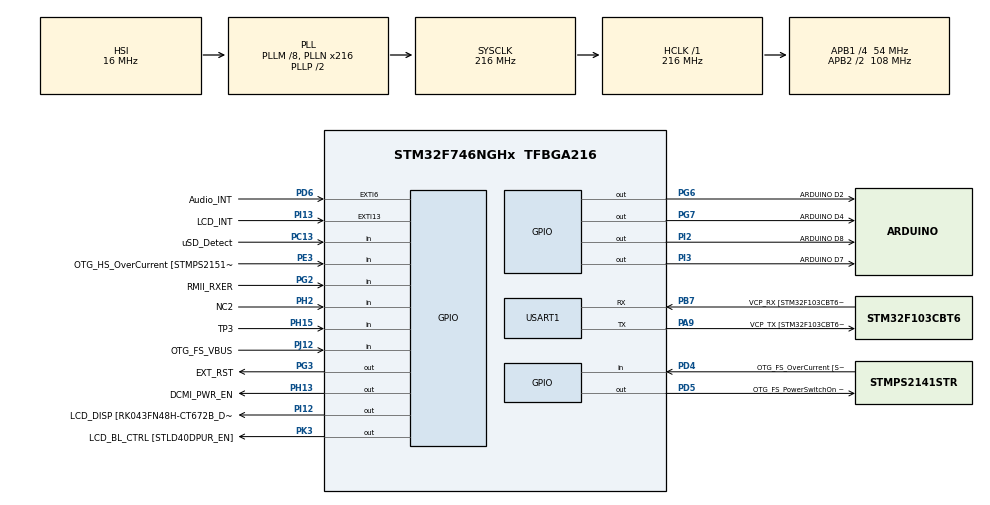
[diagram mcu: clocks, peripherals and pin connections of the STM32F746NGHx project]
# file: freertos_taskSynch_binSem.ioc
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Mcu.Family=STM32F7
Mcu.Name=STM32F746NGHx
Mcu.Package=TFBGA216
NVIC.PriorityGroup=NVIC_PRIORITYGROUP_4
NVIC.TIM6_DAC_IRQn=true\:15\:0\:false\:false\:true\:false\:true\:true
NVIC.TimeBase=TIM6_DAC_IRQn
NVIC.TimeBaseIP=TIM6
NVIC.USART1_IRQn=true\:0\:0\:false\:false\:true\:true\:true\:true
PA0/WKUP.GPIO_Label=ARDUINO A0
PA0/WKUP.GPIO_Mode=GPIO_MODE_ANALOG
PA0/WKUP.GPIO_PuPd=GPIO_NOPULL
PA0/WKUP.Signal=ADCx_IN0
PA1.GPIO_Label=RMII_REF_CLK [LAN8742A-CZ-TR_REFCLK0]
PA1.Signal=ETH_REF_CLK
PA10.GPIO_Label=OTG_FS_ID
PA10.Signal=USB_OTG_FS_ID
PA11.GPIO_Label=OTG_FS_N
PA11.Signal=USB_OTG_FS_DM
PA12.GPIO_Label=OTG_FS_P
PA12.Signal=USB_OTG_FS_DP
PA13.GPIO_Label=SWDIO
PA13.Signal=SYS_JTMS-SWDIO
PA14.GPIO_Label=SWCLK
PA14.Signal=SYS_JTCK-SWCLK
PA15.GPIO_Label=ARDUINO PWM/D9
PA15.GPIO_ModeDefaultPP=GPIO_MODE_AF_PP
PA15.GPIO_PuPd=GPIO_NOPULL
PA15.GPIO_Speed=GPIO_SPEED_FREQ_LOW
PA15.Signal=S_TIM2_CH1_ETR
PA2.GPIO_Label=RMII_MDIO [LAN8742A-CZ-TR_MDIO]
PA2.Signal=ETH_MDIO
PA3.GPIO_Label=ULPI_D0 [USB3320C-EZK_D0]
PA3.Signal=USB_OTG_HS_ULPI_D0
PA4.GPIO_Label=DCMI_HSYNC
PA4.Signal=DCMI_HSYNC
PA5.GPIO_Label=ULPI_CLK [USB3320C-EZK_CLKOUT]
PA5.Signal=USB_OTG_HS_ULPI_CK
PA6.Signal=DCMI_PIXCLK
PA7.GPIO_Label=RMII_CRS_DV [LAN8742A-CZ-TR_CRS_DV]
PA7.Signal=ETH_CRS_DV
PA8.GPIO_Label=ARDUINO PWM/D10
PA8.GPIO_ModeDefaultPP=GPIO_MODE_AF_PP
PA8.GPIO_PuPd=GPIO_NOPULL
PA8.GPIO_Speed=GPIO_SPEED_FREQ_LOW
PA8.Signal=S_TIM1_CH1
PA9.GPIO_Label=VCP_TX [STM32F103CBT6_PA3]
PA9.GPIO_Mode=GPIO_MODE_AF_PP
PA9.GPIO_PuPd=GPIO_NOPULL
PA9.GPIO_Speed=GPIO_SPEED_FREQ_LOW
PA9.Mode=Asynchronous
PA9.Signal=USART1_TX
PB0.GPIO_Label=ULPI_D1 [USB3320C-EZK_D1]
PB0.Signal=USB_OTG_HS_ULPI_D1
PB1.GPIO_Label=ULPI_D2 [USB3320C-EZK_D2]
PB1.Signal=USB_OTG_HS_ULPI_D2
PB10.GPIO_Label=ULPI_D3 [USB3320C-EZK_D3]
PB10.Signal=USB_OTG_HS_ULPI_D3
PB11.GPIO_Label=ULPI_D4 [USB3320C-EZK_D4]
PB11.Signal=USB_OTG_HS_ULPI_D4
PB12.GPIO_Label=ULPI_D5 [USB3320C-EZK_D5]
PB12.Signal=USB_OTG_HS_ULPI_D5
PB13.GPIO_Label=ULPI_D6 [USB3320C-EZK_D6]
PB13.Signal=USB_OTG_HS_ULPI_D6
PB14.GPIO_Label=ARDUINO MISO/D12
PB14.GPIO_Mode=GPIO_MODE_AF_PP
PB14.GPIO_PuPd=GPIO_NOPULL
PB14.GPIO_Speed=GPIO_SPEED_FREQ_LOW
PB14.Signal=SPI2_MISO
PB15.GPIO_Label=ARDUINO MOSI/PWM/D11
PB15.GPIO_Mode=GPIO_MODE_AF_PP
PB15.GPIO_PuPd=GPIO_NOPULL
PB15.GPIO_Speed=GPIO_SPEED_FREQ_LOW
PB15.Signal=SPI2_MOSI
PB2.Signal=QUADSPI_CLK
PB3.GPIO_Label=SWO
PB3.Signal=SYS_JTDO-SWO
PB4.GPIO_Label=ARDUINO PWM/D3
PB4.GPIO_ModeDefaultPP=GPIO_MODE_AF_PP
PB4.GPIO_PuPd=GPIO_NOPULL
PB4.GPIO_Speed=GPIO_SPEED_FREQ_LOW
PB4.Signal=S_TIM3_CH1
PB5.GPIO_Label=ULPI_D7 [USB3320C-EZK_D7]
PB5.Signal=USB_OTG_HS_ULPI_D7
PB6.GPIO_Label=QSPI_NCS [N25Q128A13EF840E_S]
PB6.Signal=QUADSPI_BK1_NCS
PB7.GPIO_Label=VCP_RX [STM32F103CBT6_PA2]
PB7.GPIO_Mode=GPIO_MODE_AF_PP
PB7.GPIO_PuPd=GPIO_NOPULL
PB7.GPIO_Speed=GPIO_SPEED_FREQ_LOW
PB7.Mode=Asynchronous
PB7.Signal=USART1_RX
PB8.GPIO_Label=ARDUINO SCL/D15
PB8.GPIO_Mode=GPIO_MODE_AF_OD
PB8.GPIO_PuPd=GPIO_NOPULL
PB8.GPIO_Speed=GPIO_SPEED_FREQ_LOW
PB8.Signal=I2C1_SCL
PB9.GPIO_Label=ARDUINO SDA/D14
PB9.GPIO_Mode=GPIO_MODE_AF_OD
PB9.GPIO_PuPd=GPIO_NOPULL
PB9.GPIO_Speed=GPIO_SPEED_FREQ_LOW
PB9.Signal=I2C1_SDA
PC0.GPIO_Label=ULPI_STP [USB3320C-EZK_STP]
PC0.Signal=USB_OTG_HS_ULPI_STP
PC1.GPIO_Label=RMII_MDC [LAN8742A-CZ-TR_MDC]
PC1.Signal=ETH_MDC
PC10.GPIO_Label=SDMMC_D2
PC10.Signal=SDMMC1_D2
PC11.GPIO_Label=SDMMC_D3
PC11.Signal=SDMMC1_D3
PC12.GPIO_Label=SDMMC_CK
PC12.Signal=SDMMC1_CK
PC13.GPIO_Label=uSD_Detect
PC13.Signal=GPIO_Input
PC14/OSC32_IN.GPIO_Label=RCC_OSC32_IN
PC14/OSC32_IN.Signal=RCC_OSC32_IN
PC15/OSC32_OUT.GPIO_Label=RCC_OSC32_OUT
PC15/OSC32_OUT.Signal=RCC_OSC32_OUT
PC2.GPIO_Label=ULPI_DIR [USB3320C-EZK_DIR]
PC2.Signal=USB_OTG_HS_ULPI_DIR
PC3.GPIO_Label=FMC_SDCKE0 [MT48LC4M32B2B5-6A_CKE]
PC3.Signal=FMC_SDCKE0
PC4.GPIO_Label=RMII_RXD0 [LAN8742A-CZ-TR_RXD0]
PC4.Signal=ETH_RXD0
PC5.GPIO_Label=RMII_RXD1 [LAN8742A-CZ-TR_RXD1]
PC5.Signal=ETH_RXD1
PC6.GPIO_Label=ARDUINO TX/D1
PC6.Signal=USART6_TX
PC7.GPIO_Label=ARDUINO RX/D0
PC7.Signal=USART6_RX
PC8.Signal=SDMMC1_D0
PC9.Signal=SDMMC1_D1
PD0.GPIO_Label=FMC_D2 [MT48LC4M32B2B5-6A_DQ2]
PD0.Signal=FMC_D2_DA2
PD1.GPIO_Label=FMC_D3 [MT48LC4M32B2B5-6A_DQ3]
PD1.Signal=FMC_D3_DA3
PD10.GPIO_Label=FMC_D15 [MT48LC4M32B2B5-6A_DQ15]
PD10.Signal=FMC_D15_DA15
PD11.GPIO_Label=QSPI_D0 [N25Q128A13EF840E_DQ0]
PD11.Signal=QUADSPI_BK1_IO0
PD12.GPIO_Label=QSPI_D1 [N25Q128A13EF840E_DQ1]
PD12.Signal=QUADSPI_BK1_IO1
PD13.GPIO_Label=QSPI_D3 [N25Q128A13EF840E_DQ3]
PD13.Signal=QUADSPI_BK1_IO3
PD14.GPIO_Label=FMC_D0 [MT48LC4M32B2B5-6A_DQ0]
PD14.Signal=FMC_D0_DA0
PD15.GPIO_Label=FMC_D1 [MT48LC4M32B2B5-6A_DQ1]
PD15.Signal=FMC_D1_DA1
PD2.GPIO_Label=SDMMC_D0
PD2.Signal=SDMMC1_CMD
PD3.GPIO_Label=DCMI_D5
PD3.Signal=DCMI_D5
PD4.GPIO_Label=OTG_FS_OverCurrent [STMPS2141STR_Fault]
PD4.Signal=GPIO_Input
PD5.GPIO_Label=OTG_FS_PowerSwitchOn [STMPS2141STR_EN]
PD5.PinState=GPIO_PIN_SET
PD5.Signal=GPIO_Output
PD6.GPIO_Label=Audio_INT
PD6.GPIO_ModeDefaultEXTI=GPIO_MODE_EVT_RISING
PD6.Signal=GPXTI6
PD7.GPIO_Label=SPDIF_RX0 [74LVC1G04SE_4]
PD7.Signal=SPDIFRX_IN0
PD8.GPIO_Label=FMC_D13 [MT48LC4M32B2B5-6A_DQ13]
PD8.Signal=FMC_D13_DA13
PD9.GPIO_Label=FMC_D14 [MT48LC4M32B2B5-6A_DQ14]
PD9.Signal=FMC_D14_DA14
PE0.GPIO_Label=FMC_NBL0 [MT48LC4M32B2B5-6A_DQM0]
PE0.Signal=FMC_NBL0
PE1.GPIO_Label=FMC_NBL1 [MT48LC4M32B2B5-6A_DQM1]
PE1.Signal=FMC_NBL1
PE10.GPIO_Label=FMC_D7 [MT48LC4M32B2B5-6A_DQ7]
PE10.Signal=FMC_D7_DA7
PE11.GPIO_Label=FMC_D8 [MT48LC4M32B2B5-6A_DQ8]
PE11.Signal=FMC_D8_DA8
PE12.GPIO_Label=FMC_D9 [MT48LC4M32B2B5-6A_DQ9]
PE12.Signal=FMC_D9_DA9
PE13.GPIO_Label=FMC_D10 [MT48LC4M32B2B5-6A_DQ10]
PE13.Signal=FMC_D10_DA10
PE14.GPIO_Label=FMC_D11 [MT48LC4M32B2B5-6A_DQ11]
PE14.Signal=FMC_D11_DA11
PE15.GPIO_Label=FMC_D12 [MT48LC4M32B2B5-6A_DQ12]
PE15.Signal=FMC_D12_DA12
PE2.GPIO_Label=QSPI_D2 [N25Q128A13EF840E_DQ2]
PE2.Signal=QUADSPI_BK1_IO2
PE3.GPIO_Label=OTG_HS_OverCurrent [STMPS2151STR_FAULT]
PE3.Signal=GPIO_Input
PE4.GPIO_Label=LCD_B0 [RK043FN48H-CT672B_B0]
PE4.Signal=LTDC_B0
PE5.GPIO_Label=DCMI_D6
PE5.Signal=DCMI_D6
PE6.GPIO_Label=DCMI_D7
PE6.Signal=DCMI_D7
PE7.GPIO_Label=FMC_D4 [MT48LC4M32B2B5-6A_DQ4]
PE7.Signal=FMC_D4_DA4
PE8.GPIO_Label=FMC_D5 [MT48LC4M32B2B5-6A_DQ5]
PE8.Signal=FMC_D5_DA5
PE9.GPIO_Label=FMC_D6 [MT48LC4M32B2B5-6A_DQ6]
PE9.Signal=FMC_D6_DA6
PF0.GPIO_Label=FMC_A0 [MT48LC4M32B2B5-6A_A0]
PF0.Signal=FMC_A0
PF1.GPIO_Label=FMC_A1 [MT48LC4M32B2B5-6A_A1]
PF1.Signal=FMC_A1
PF10.GPIO_Label=ARDUINO A1
PF10.GPIO_Mode=GPIO_MODE_ANALOG
PF10.GPIO_PuPd=GPIO_NOPULL
PF10.Signal=ADC3_IN8
PF11.GPIO_Label=FMC_SDNRAS [MT48LC4M32B2B5-6A_RAS]
PF11.Signal=FMC_SDNRAS
PF12.GPIO_Label=FMC_A6 [MT48LC4M32B2B5-6A_A6]
PF12.Signal=FMC_A6
PF13.GPIO_Label=FMC_A7 [MT48LC4M32B2B5-6A_A7]
PF13.Signal=FMC_A7
PF14.GPIO_Label=FMC_A8 [MT48LC4M32B2B5-6A_A8]
PF14.Signal=FMC_A8
PF15.GPIO_Label=FMC_A9 [MT48LC4M32B2B5-6A_A9]
PF15.Signal=FMC_A9
PF2.GPIO_Label=FMC_A2 [MT48LC4M32B2B5-6A_A2]
PF2.Signal=FMC_A2
PF3.GPIO_Label=FMC_A3 [MT48LC4M32B2B5-6A_A3]
PF3.Signal=FMC_A3
PF4.GPIO_Label=FMC_A4 [MT48LC4M32B2B5-6A_A4]
PF4.Signal=FMC_A4
PF5.GPIO_Label=FMC_A5 [MT48LC4M32B2B5-6A_A5]
PF5.Signal=FMC_A5
PF6.GPIO_Label=ARDUINO A5
PF6.GPIO_Mode=GPIO_MODE_ANALOG
PF6.GPIO_PuPd=GPIO_NOPULL
PF6.Signal=ADC3_IN4
PF7.GPIO_Label=ARDUINO A4
PF7.GPIO_Mode=GPIO_MODE_ANALOG
PF7.GPIO_PuPd=GPIO_NOPULL
PF7.Signal=ADC3_IN5
PF8.GPIO_Label=ARDUINO A3
PF8.GPIO_Mode=GPIO_MODE_ANALOG
PF8.GPIO_PuPd=GPIO_NOPULL
PF8.Signal=ADC3_IN6
PF9.GPIO_Label=ARDUINO A2
PF9.GPIO_Mode=GPIO_MODE_ANALOG
PF9.GPIO_PuPd=GPIO_NOPULL
PF9.Signal=ADC3_IN7
PG0.GPIO_Label=FMC_A10 [MT48LC4M32B2B5-6A_A10]
PG0.Signal=FMC_A10
PG1.GPIO_Label=FMC_A11 [MT48LC4M32B2B5-6A_A11]
PG1.Signal=FMC_A11
PG10.GPIO_Label=SAI2_SDB [WM8994ECS/R_ADCDAT1]
PG10.Signal=SAI2_SD_B
PG11.GPIO_Label=RMII_TX_EN [LAN8742A-CZ-TR_TXEN]
PG11.Signal=ETH_TX_EN
PG12.GPIO_Label=LCD_B4 [RK043FN48H-CT672B_B4]
PG12.Signal=LTDC_B4
PG13.GPIO_Label=RMII_TXD0 [LAN8742A-CZ-TR_TXD0]
PG13.Signal=ETH_TXD0
PG14.GPIO_Label=RMII_TXD1 [LAN8742A-CZ-TR_TXD1]
PG14.Signal=ETH_TXD1
PG15.GPIO_Label=FMC_SDNCAS [MT48LC4M32B2B5-6A_CAS]
PG15.Signal=FMC_SDNCAS
PG2.GPIO_Label=RMII_RXER
PG2.Signal=GPIO_Input
PG3.GPIO_Label=EXT_RST
PG3.Signal=GPIO_Output
PG4.GPIO_Label=FMC_BA0 [MT48LC4M32B2B5-6A_BA0]
PG4.Signal=FMC_A14_BA0
PG5.GPIO_Label=FMC_BA1 [MT48LC4M32B2B5-6A_BA1]
PG5.Signal=FMC_A15_BA1
PG6.GPIO_Label=ARDUINO D2
PG6.Signal=GPIO_Output
PG7.GPIO_Label=ARDUINO D4
PG7.Signal=GPIO_Output
PG8.GPIO_Label=FMC_SDCLK [MT48LC4M32B2B5-6A_CLK]
PG8.Signal=FMC_SDCLK
PG9.GPIO_Label=DCMI_VSYNC
PG9.Signal=DCMI_VSYNC
PH0/OSC_IN.GPIO_Label=OSC_25M [NZ2520SB-25.00M_OUT]
PH0/OSC_IN.Signal=RCC_OSC_IN
PH1/OSC_OUT.Signal=RCC_OSC_OUT
PH10.GPIO_Label=DCMI_D1
PH10.Signal=DCMI_D1
PH11.GPIO_Label=DCMI_D2
PH11.Signal=DCMI_D2
PH12.GPIO_Label=DCMI_D3
PH12.Signal=DCMI_D3
PH13.GPIO_Label=DCMI_PWR_EN
PH13.Signal=GPIO_Output
PH14.GPIO_Label=DCMI_D4
PH14.Signal=DCMI_D4
PH15.GPIO_Label=TP3
PH15.Signal=GPIO_Input
PH2.GPIO_Label=NC2
PH2.Signal=GPIO_Input
PH3.GPIO_Label=FMC_SDNE0 [MT48LC4M32B2B5-6A_CS]
PH3.Signal=FMC_SDNE0
PH4.GPIO_Label=ULPI_NXT [USB3320C-EZK_NXT]
PH4.Signal=USB_OTG_HS_ULPI_NXT
PH5.GPIO_Label=FMC_SDNME [MT48LC4M32B2B5-6A_WE]
PH5.Signal=FMC_SDNWE
PH6.GPIO_Label=ARDUINO PWM/D6
PH6.Signal=S_TIM12_CH1
PH7.GPIO_Label=LCD_SCL [RK043FN48H-CT672B_SCL]
PH7.Signal=I2C3_SCL
PH8.GPIO_Label=LCD_SDA [RK043FN48H-CT672B_SDA]
PH8.Signal=I2C3_SDA
PH9.GPIO_Label=DCMI_D0
PH9.Signal=DCMI_D0
PI0.GPIO_Label=ARDUINO PWM/CS/D5
PI0.GPIO_ModeDefaultPP=GPIO_MODE_AF_PP
PI0.GPIO_PuPd=GPIO_NOPULL
PI0.GPIO_Speed=GPIO_SPEED_FREQ_LOW
PI0.Signal=S_TIM5_CH4
PI1.GPIO_Label=ARDUINO SCK/D13
PI1.GPIO_Mode=GPIO_MODE_AF_PP
PI1.GPIO_PuPd=GPIO_NOPULL
PI1.GPIO_Speed=GPIO_SPEED_FREQ_LOW
PI1.Signal=SPI2_SCK
PI10.GPIO_Label=LCD_HSYNC [RK043FN48H-CT672B_HSYNC]
PI10.Signal=LTDC_HSYNC
PI12.GPIO_Label=LCD_DISP [RK043FN48H-CT672B_DISP] 
PI12.Signal=GPIO_Output
PI13.GPIO_Label=LCD_INT
PI13.GPIO_ModeDefaultEXTI=GPIO_MODE_EVT_RISING
PI13.Signal=GPXTI13
PI14.GPIO_Label=LCD_CLK [RK043FN48H-CT672B_CLK]
PI14.Signal=LTDC_CLK
PI15.GPIO_Label=LCD_R0 [RK043FN48H-CT672B_R0]
PI15.Signal=LTDC_R0
PI2.GPIO_Label=ARDUINO D8
PI2.Signal=GPIO_Output
PI3.GPIO_Label=ARDUINO D7
PI3.Signal=GPIO_Output
PI4.GPIO_Label=SAI2_MCLKA [WM8994ECS/R_MCLK1]
PI4.Signal=SAI2_MCLK_A
PI5.GPIO_Label=SAI2_SCKA [WM8994ECS/R_BCLK1]
PI5.Signal=SAI2_SCK_A
PI6.GPIO_Label=SAI2_SDA [WM8994ECS/R_DACDAT1]
PI6.Signal=SAI2_SD_A
PI7.GPIO_Label=SAI2_FSA [WM8994ECS/R_LRCLK1]
PI7.Signal=SAI2_FS_A
PI8.GPIO_Label=NC1 [TP2]
PI8.Signal=RTC_TS
PI9.GPIO_Label=LCD_VSYNC [RK043FN48H-CT672B_VSYNC]
PI9.Signal=LTDC_VSYNC
PJ0.GPIO_Label=LCD_R1 [RK043FN48H-CT672B_R1]
PJ0.Signal=LTDC_R1
PJ1.GPIO_Label=LCD_R2 [RK043FN48H-CT672B_R2]
PJ1.Signal=LTDC_R2
PJ10.GPIO_Label=LCD_G3 [RK043FN48H-CT672B_G3]
PJ10.Signal=LTDC_G3
PJ11.GPIO_Label=LCD_G4 [RK043FN48H-CT672B_G4]
PJ11.Signal=LTDC_G4
PJ12.GPIO_Label=OTG_FS_VBUS
PJ12.Signal=GPIO_Input
PJ13.GPIO_Label=LCD_B1 [RK043FN48H-CT672B_B1]
PJ13.Signal=LTDC_B1
PJ14.GPIO_Label=LCD_B2 [RK043FN48H-CT672B_B2]
PJ14.Signal=LTDC_B2
PJ15.GPIO_Label=LCD_B3 [RK043FN48H-CT672B_B3]
PJ15.Signal=LTDC_B3
PJ2.GPIO_Label=LCD_R3 [RK043FN48H-CT672B_R3]
PJ2.Signal=LTDC_R3
PJ3.GPIO_Label=LCD_R4 [RK043FN48H-CT672B_R4]
PJ3.Signal=LTDC_R4
PJ4.GPIO_Label=LCD_R5 [RK043FN48H-CT672B_R5]
PJ4.Signal=LTDC_R5
PJ5.GPIO_Label=LCD_R6 [RK043FN48H-CT672B_R6]
PJ5.Signal=LTDC_R6
PJ6.GPIO_Label=LCD_R7 [RK043FN48H-CT672B_R7]
PJ6.Signal=LTDC_R7
PJ7.GPIO_Label=LCD_G0 [RK043FN48H-CT672B_G0]
PJ7.Signal=LTDC_G0
PJ8.GPIO_Label=LCD_G1 [RK043FN48H-CT672B_G1]
PJ8.Signal=LTDC_G1
PJ9.GPIO_Label=LCD_G2 [RK043FN48H-CT672B_G2]
PJ9.Signal=LTDC_G2
PK0.GPIO_Label=LCD_G5 [RK043FN48H-CT672B_G5]
PK0.Signal=LTDC_G5
PK1.GPIO_Label=LCD_G6 [RK043FN48H-CT672B_G6]
PK1.Signal=LTDC_G6
PK2.GPIO_Label=LCD_G7 [RK043FN48H-CT672B_G7]
PK2.Signal=LTDC_G7
PK3.GPIO_Label=LCD_BL_CTRL [STLD40DPUR_EN]
PK3.Signal=GPIO_Output
PK4.GPIO_Label=LCD_B5 [RK043FN48H-CT672B_B5]
PK4.Signal=LTDC_B5
PK5.GPIO_Label=LCD_B6 [RK043FN48H-CT672B_B6]
PK5.Signal=LTDC_B6
PK6.GPIO_Label=LCD_B7 [RK043FN48H-CT672B_B7]
PK6.Signal=LTDC_B7
PK7.GPIO_Label=LCD_DE [RK043FN48H-CT672B_DE]
PK7.Signal=LTDC_DE
ProjectManager.HeapSize=0x200
ProjectManager.StackSize=0x400
ProjectManager.TargetToolchain=STM32CubeIDE
RCC.AHBFreq_Value=216000000
RCC.APB1CLKDivider=RCC_HCLK_DIV4
RCC.APB1Freq_Value=54000000
RCC.APB1TimFreq_Value=108000000
RCC.APB2CLKDivider=RCC_HCLK_DIV2
RCC.APB2Freq_Value=108000000
RCC.APB2TimFreq_Value=216000000
RCC.CortexFreq_Value=216000000
RCC.HCLKFreq_Value=216000000
RCC.HSE_VALUE=25000000
RCC.HSI_VALUE=16000000
RCC.LSE_VALUE=32768
RCC.PLLM=8
RCC.PLLN=216
RCC.PLLSourceVirtual=RCC_PLLSOURCE_HSI
RCC.SYSCLKFreq_VALUE=216000000
RCC.SYSCLKSource=RCC_SYSCLKSOURCE_PLLCLK
RCC.USBFreq_Value=216000000
RCC.VCOOutputFreq_Value=432000000
SH.ADCx_IN0.0=ADC3_IN0
SH.FMC_A0.0=FMC_A0
SH.FMC_A1.0=FMC_A1
SH.FMC_A10.0=FMC_A10
SH.FMC_A11.0=FMC_A11
SH.FMC_A14_BA0.0=FMC_BA0
SH.FMC_A15_BA1.0=FMC_BA1
SH.FMC_A2.0=FMC_A2
SH.FMC_A3.0=FMC_A3
SH.FMC_A4.0=FMC_A4
SH.FMC_A5.0=FMC_A5
SH.FMC_A6.0=FMC_A6
SH.FMC_A7.0=FMC_A7
SH.FMC_A8.0=FMC_A8
SH.FMC_A9.0=FMC_A9
SH.FMC_D0_DA0.0=FMC_D0
SH.FMC_D10_DA10.0=FMC_D10
SH.FMC_D11_DA11.0=FMC_D11
SH.FMC_D12_DA12.0=FMC_D12
SH.FMC_D13_DA13.0=FMC_D13
SH.FMC_D14_DA14.0=FMC_D14
SH.FMC_D15_DA15.0=FMC_D15
SH.FMC_D1_DA1.0=FMC_D1
SH.FMC_D2_DA2.0=FMC_D2
SH.FMC_D3_DA3.0=FMC_D3
SH.FMC_D4_DA4.0=FMC_D4
SH.FMC_D5_DA5.0=FMC_D5
SH.FMC_D6_DA6.0=FMC_D6
SH.FMC_D7_DA7.0=FMC_D7
SH.FMC_D8_DA8.0=FMC_D8
SH.FMC_D9_DA9.0=FMC_D9
SH.FMC_NBL0.0=FMC_NBL0
SH.FMC_NBL1.0=FMC_NBL1
SH.FMC_SDCLK.0=FMC_SDCLK
SH.FMC_SDNCAS.0=FMC_SDNCAS
SH.FMC_SDNRAS.0=FMC_SDNRAS
SH.FMC_SDNWE.0=FMC_SDNWE
SH.S_TIM12_CH1.0=TIM12_CH1
SH.S_TIM1_CH1.0=TIM1_CH1
SH.S_TIM2_CH1_ETR.0=TIM2_CH1
SH.S_TIM3_CH1.0=TIM3_CH1
SH.S_TIM5_CH4.0=TIM5_CH4
USART1.VirtualMode-Asynchronous=VM_ASYNC
VP_SYS_VS_tim6.Mode=TIM6
board=STM32F746G-DISCO

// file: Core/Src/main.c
/* USER CODE BEGIN Header */
/**
  ******************************************************************************
  * @file           : main.c
  * @brief          : Main program body
  ******************************************************************************
  * @attention
  *
  * Copyright (c) 2023 STMicroelectronics.
  * All rights reserved.
  *
  * This software is licensed under terms that can be found in the LICENSE file
  * in the root directory of this software component.
  * If no LICENSE file comes with this software, it is provided AS-IS.
  *
  ******************************************************************************
  */
/* USER CODE END Header */
#include "main.h"

/* USER CODE BEGIN Includes */
#include "FreeRTOS.h"
#include "task.h"
#include "semphr.h"
#include "queue.h"

#include <stdio.h>
#include <stdlib.h>
#include <string.h>
/* USER CODE END Includes */

UART_HandleTypeDef huart1;

/* USER CODE BEGIN PV */
char usr_msg[250] = {0};

TaskHandle_t xTaskHandleM = NULL;
TaskHandle_t xTaskHandleE = NULL;

xSemaphoreHandle xWork;
xQueueHandle xWorkQueue;
/* USER CODE END PV */

void SystemClock_Config(void);
static void MX_GPIO_Init(void);
static void MX_USART1_UART_Init(void);
/* USER CODE BEGIN PFP */

void UART_LOG(char * msg);
void EmployeeDoWork(uint32_t TicketId);

static void vManagerTask(void *pvParameters);
static void vEmployeeTask(void *pvParameters);

/* USER CODE END PFP */

int main(void)
{

  /* MCU Configuration--------------------------------------------------------*/

  /* Reset of all peripherals, Initializes the Flash interface and the Systick. */
  HAL_Init();

  /* Configure the system clock */
  SystemClock_Config();

  /* Initialize all configured peripherals */
  MX_GPIO_Init();
  MX_USART1_UART_Init();
  /* USER CODE BEGIN 2 */

  BaseType_t status;
  sprintf(usr_msg,"Demo of Binary semaphore usage between 2 Tasks \r\n");
  UART_LOG(usr_msg);

  vSemaphoreCreateBinary(xWork);

  xWorkQueue = xQueueCreate(1, sizeof(unsigned int));

  if((xWork != NULL) && (xWorkQueue != NULL))
  {
	  status = xTaskCreate(vManagerTask, "Manager Task", 500, NULL, 3, xTaskHandleM);
	  configASSERT(status == pdTRUE);

	  status = xTaskCreate(vEmployeeTask, "Employee Task", 500, NULL, 1, xTaskHandleE);
	  configASSERT(status == pdTRUE);

	  vTaskStartScheduler();
  }

  sprintf(usr_msg,"Queue/Sema create failed.. \r\n");
  UART_LOG(usr_msg);
  /* USER CODE END 2 */

  /* Infinite loop */
  while (1)
  {

  }
}

void SystemClock_Config(void)
{
  RCC_OscInitTypeDef RCC_OscInitStruct = {0};
  RCC_ClkInitTypeDef RCC_ClkInitStruct = {0};

  /** Configure the main internal regulator output voltage
  */
  __HAL_RCC_PWR_CLK_ENABLE();
  __HAL_PWR_VOLTAGESCALING_CONFIG(PWR_REGULATOR_VOLTAGE_SCALE1);

  /** Initializes the RCC Oscillators according to the specified parameters
  * in the RCC_OscInitTypeDef structure.
  */
  RCC_OscInitStruct.OscillatorType = RCC_OSCILLATORTYPE_HSI;
  RCC_OscInitStruct.HSIState = RCC_HSI_ON;
  RCC_OscInitStruct.HSICalibrationValue = RCC_HSICALIBRATION_DEFAULT;
  RCC_OscInitStruct.PLL.PLLState = RCC_PLL_ON;
  RCC_OscInitStruct.PLL.PLLSource = RCC_PLLSOURCE_HSI;
  RCC_OscInitStruct.PLL.PLLM = 8;
  RCC_OscInitStruct.PLL.PLLN = 216;
  RCC_OscInitStruct.PLL.PLLP = RCC_PLLP_DIV2;
  RCC_OscInitStruct.PLL.PLLQ = 2;
  if (HAL_RCC_OscConfig(&RCC_OscInitStruct) != HAL_OK)
  {
    Error_Handler();
  }

  /** Activate the Over-Drive mode
  */
  if (HAL_PWREx_EnableOverDrive() != HAL_OK)
  {
    Error_Handler();
  }

  /** Initializes the CPU, AHB and APB buses clocks
  */
  RCC_ClkInitStruct.ClockType = RCC_CLOCKTYPE_HCLK|RCC_CLOCKTYPE_SYSCLK
                              |RCC_CLOCKTYPE_PCLK1|RCC_CLOCKTYPE_PCLK2;
  RCC_ClkInitStruct.SYSCLKSource = RCC_SYSCLKSOURCE_PLLCLK;
  RCC_ClkInitStruct.AHBCLKDivider = RCC_SYSCLK_DIV1;
  RCC_ClkInitStruct.APB1CLKDivider = RCC_HCLK_DIV4;
  RCC_ClkInitStruct.APB2CLKDivider = RCC_HCLK_DIV2;

  if (HAL_RCC_ClockConfig(&RCC_ClkInitStruct, FLASH_LATENCY_7) != HAL_OK)
  {
    Error_Handler();
  }
}

static void MX_USART1_UART_Init(void)
{

  huart1.Instance = USART1;
  huart1.Init.BaudRate = 115200;
  huart1.Init.WordLength = UART_WORDLENGTH_8B;
  huart1.Init.StopBits = UART_STOPBITS_1;
  huart1.Init.Parity = UART_PARITY_NONE;
  huart1.Init.Mode = UART_MODE_TX_RX;
  huart1.Init.HwFlowCtl = UART_HWCONTROL_NONE;
  huart1.Init.OverSampling = UART_OVERSAMPLING_16;
  huart1.Init.OneBitSampling = UART_ONE_BIT_SAMPLE_DISABLE;
  huart1.AdvancedInit.AdvFeatureInit = UART_ADVFEATURE_NO_INIT;
  if (HAL_UART_Init(&huart1) != HAL_OK)
  {
    Error_Handler();
  }

}

static void MX_GPIO_Init(void)
{
  GPIO_InitTypeDef GPIO_InitStruct = {0};

  /* GPIO Ports Clock Enable */
  __HAL_RCC_GPIOE_CLK_ENABLE();
  __HAL_RCC_GPIOG_CLK_ENABLE();
  __HAL_RCC_GPIOB_CLK_ENABLE();
  __HAL_RCC_GPIOD_CLK_ENABLE();
  __HAL_RCC_GPIOC_CLK_ENABLE();
  __HAL_RCC_GPIOA_CLK_ENABLE();
  __HAL_RCC_GPIOJ_CLK_ENABLE();
  __HAL_RCC_GPIOI_CLK_ENABLE();
  __HAL_RCC_GPIOK_CLK_ENABLE();
  __HAL_RCC_GPIOF_CLK_ENABLE();
  __HAL_RCC_GPIOH_CLK_ENABLE();

  /*Configure GPIO pin Output Level */
  HAL_GPIO_WritePin(OTG_FS_PowerSwitchOn_GPIO_Port, OTG_FS_PowerSwitchOn_Pin, GPIO_PIN_SET);

  /*Configure GPIO pin Output Level */
  HAL_GPIO_WritePin(GPIOI, ARDUINO_D7_Pin|ARDUINO_D8_Pin|LCD_DISP_Pin, GPIO_PIN_RESET);

  /*Configure GPIO pin Output Level */
  HAL_GPIO_WritePin(LCD_BL_CTRL_GPIO_Port, LCD_BL_CTRL_Pin, GPIO_PIN_RESET);

  /*Configure GPIO pin Output Level */
  HAL_GPIO_WritePin(DCMI_PWR_EN_GPIO_Port, DCMI_PWR_EN_Pin, GPIO_PIN_RESET);

  /*Configure GPIO pin Output Level */
  HAL_GPIO_WritePin(GPIOG, ARDUINO_D4_Pin|ARDUINO_D2_Pin|EXT_RST_Pin, GPIO_PIN_RESET);

  /*Configure GPIO pin : LCD_B0_Pin */
  GPIO_InitStruct.Pin = LCD_B0_Pin;
  GPIO_InitStruct.Mode = GPIO_MODE_AF_PP;
  GPIO_InitStruct.Pull = GPIO_NOPULL;
  GPIO_InitStruct.Speed = GPIO_SPEED_FREQ_LOW;
  GPIO_InitStruct.Alternate = GPIO_AF14_LTDC;
  HAL_GPIO_Init(LCD_B0_GPIO_Port, &GPIO_InitStruct);

  /*Configure GPIO pin : OTG_HS_OverCurrent_Pin */
  GPIO_InitStruct.Pin = OTG_HS_OverCurrent_Pin;
  GPIO_InitStruct.Mode = GPIO_MODE_INPUT;
  GPIO_InitStruct.Pull = GPIO_NOPULL;
  HAL_GPIO_Init(OTG_HS_OverCurrent_GPIO_Port, &GPIO_InitStruct);

  /*Configure GPIO pin : QSPI_D2_Pin */
  GPIO_InitStruct.Pin = QSPI_D2_Pin;
  GPIO_InitStruct.Mode = GPIO_MODE_AF_PP;
  GPIO_InitStruct.Pull = GPIO_NOPULL;
  GPIO_InitStruct.Speed = GPIO_SPEED_FREQ_VERY_HIGH;
  GPIO_InitStruct.Alternate = GPIO_AF9_QUADSPI;
  HAL_GPIO_Init(QSPI_D2_GPIO_Port, &GPIO_InitStruct);

  /*Configure GPIO pins : RMII_TXD1_Pin RMII_TXD0_Pin RMII_TX_EN_Pin */
  GPIO_InitStruct.Pin = RMII_TXD1_Pin|RMII_TXD0_Pin|RMII_TX_EN_Pin;
  GPIO_InitStruct.Mode = GPIO_MODE_AF_PP;
  GPIO_InitStruct.Pull = GPIO_NOPULL;
  GPIO_InitStruct.Speed = GPIO_SPEED_FREQ_VERY_HIGH;
  GPIO_InitStruct.Alternate = GPIO_AF11_ETH;
  HAL_GPIO_Init(GPIOG, &GPIO_InitStruct);

  /*Configure GPIO pins : FMC_NBL1_Pin FMC_NBL0_Pin FMC_D5_Pin FMC_D6_Pin
                           FMC_D8_Pin FMC_D11_Pin FMC_D4_Pin FMC_D7_Pin
                           FMC_D9_Pin FMC_D12_Pin FMC_D10_Pin */
  GPIO_InitStruct.Pin = FMC_NBL1_Pin|FMC_NBL0_Pin|FMC_D5_Pin|FMC_D6_Pin
                          |FMC_D8_Pin|FMC_D11_Pin|FMC_D4_Pin|FMC_D7_Pin
                          |FMC_D9_Pin|FMC_D12_Pin|FMC_D10_Pin;
  GPIO_InitStruct.Mode = GPIO_MODE_AF_PP;
  GPIO_InitStruct.Pull = GPIO_NOPULL;
  GPIO_InitStruct.Speed = GPIO_SPEED_FREQ_VERY_HIGH;
  GPIO_InitStruct.Alternate = GPIO_AF12_FMC;
  HAL_GPIO_Init(GPIOE, &GPIO_InitStruct);

  /*Configure GPIO pins : ARDUINO_SCL_D15_Pin ARDUINO_SDA_D14_Pin */
  GPIO_InitStruct.Pin = ARDUINO_SCL_D15_Pin|ARDUINO_SDA_D14_Pin;
  GPIO_InitStruct.Mode = GPIO_MODE_AF_OD;
  GPIO_InitStruct.Pull = GPIO_NOPULL;
  GPIO_InitStruct.Speed = GPIO_SPEED_FREQ_LOW;
  GPIO_InitStruct.Alternate = GPIO_AF4_I2C1;
  HAL_GPIO_Init(GPIOB, &GPIO_InitStruct);

  /*Configure GPIO pins : ULPI_D7_Pin ULPI_D6_Pin ULPI_D5_Pin ULPI_D3_Pin
                           ULPI_D2_Pin ULPI_D1_Pin ULPI_D4_Pin */
  GPIO_InitStruct.Pin = ULPI_D7_Pin|ULPI_D6_Pin|ULPI_D5_Pin|ULPI_D3_Pin
                          |ULPI_D2_Pin|ULPI_D1_Pin|ULPI_D4_Pin;
  GPIO_InitStruct.Mode = GPIO_MODE_AF_PP;
  GPIO_InitStruct.Pull = GPIO_NOPULL;
  GPIO_InitStruct.Speed = GPIO_SPEED_FREQ_VERY_HIGH;
  GPIO_InitStruct.Alternate = GPIO_AF10_OTG_HS;
  HAL_GPIO_Init(GPIOB, &GPIO_InitStruct);

  /*Configure GPIO pin : ARDUINO_PWM_D3_Pin */
  GPIO_InitStruct.Pin = ARDUINO_PWM_D3_Pin;
  GPIO_InitStruct.Mode = GPIO_MODE_AF_PP;
  GPIO_InitStruct.Pull = GPIO_NOPULL;
  GPIO_InitStruct.Speed = GPIO_SPEED_FREQ_LOW;
  GPIO_InitStruct.Alternate = GPIO_AF2_TIM3;
  HAL_GPIO_Init(ARDUINO_PWM_D3_GPIO_Port, &GPIO_InitStruct);

  /*Configure GPIO pin : SPDIF_RX0_Pin */
  GPIO_InitStruct.Pin = SPDIF_RX0_Pin;
  GPIO_InitStruct.Mode = GPIO_MODE_AF_PP;
  GPIO_InitStruct.Pull = GPIO_NOPULL;
  GPIO_InitStruct.Speed = GPIO_SPEED_FREQ_LOW;
  GPIO_InitStruct.Alternate = GPIO_AF8_SPDIFRX;
  HAL_GPIO_Init(SPDIF_RX0_GPIO_Port, &GPIO_InitStruct);

  /*Configure GPIO pins : SDMMC_CK_Pin SDMMC_D3_Pin SDMMC_D2_Pin PC9
                           PC8 */
  GPIO_InitStruct.Pin = SDMMC_CK_Pin|SDMMC_D3_Pin|SDMMC_D2_Pin|GPIO_PIN_9
                          |GPIO_PIN_8;
  GPIO_InitStruct.Mode = GPIO_MODE_AF_PP;
  GPIO_InitStruct.Pull = GPIO_NOPULL;
  GPIO_InitStruct.Speed = GPIO_SPEED_FREQ_VERY_HIGH;
  GPIO_InitStruct.Alternate = GPIO_AF12_SDMMC1;
  HAL_GPIO_Init(GPIOC, &GPIO_InitStruct);

  /*Configure GPIO pin : ARDUINO_PWM_D9_Pin */
  GPIO_InitStruct.Pin = ARDUINO_PWM_D9_Pin;
  GPIO_InitStruct.Mode = GPIO_MODE_AF_PP;
  GPIO_InitStruct.Pull = GPIO_NOPULL;
  GPIO_InitStruct.Speed = GPIO_SPEED_FREQ_LOW;
  GPIO_InitStruct.Alternate = GPIO_AF1_TIM2;
  HAL_GPIO_Init(ARDUINO_PWM_D9_GPIO_Port, &GPIO_InitStruct);

  /*Configure GPIO pins : DCMI_D6_Pin DCMI_D7_Pin */
  GPIO_InitStruct.Pin = DCMI_D6_Pin|DCMI_D7_Pin;
  GPIO_InitStruct.Mode = GPIO_MODE_AF_PP;
  GPIO_InitStruct.Pull = GPIO_NOPULL;
  GPIO_InitStruct.Speed = GPIO_SPEED_FREQ_LOW;
  GPIO_InitStruct.Alternate = GPIO_AF13_DCMI;
  HAL_GPIO_Init(GPIOE, &GPIO_InitStruct);

  /*Configure GPIO pin : QSPI_NCS_Pin */
  GPIO_InitStruct.Pin = QSPI_NCS_Pin;
  GPIO_InitStruct.Mode = GPIO_MODE_AF_PP;
  GPIO_InitStruct.Pull = GPIO_NOPULL;
  GPIO_InitStruct.Speed = GPIO_SPEED_FREQ_VERY_HIGH;
  GPIO_InitStruct.Alternate = GPIO_AF10_QUADSPI;
  HAL_GPIO_Init(QSPI_NCS_GPIO_Port, &GPIO_InitStruct);

  /*Configure GPIO pins : FMC_SDNCAS_Pin FMC_SDCLK_Pin FMC_A11_Pin FMC_A10_Pin
                           FMC_BA1_Pin FMC_BA0_Pin */
  GPIO_InitStruct.Pin = FMC_SDNCAS_Pin|FMC_SDCLK_Pin|FMC_A11_Pin|FMC_A10_Pin
                          |FMC_BA1_Pin|FMC_BA0_Pin;
  GPIO_InitStruct.Mode = GPIO_MODE_AF_PP;
  GPIO_InitStruct.Pull = GPIO_NOPULL;
  GPIO_InitStruct.Speed = GPIO_SPEED_FREQ_VERY_HIGH;
  GPIO_InitStruct.Alternate = GPIO_AF12_FMC;
  HAL_GPIO_Init(GPIOG, &GPIO_InitStruct);

  /*Configure GPIO pins : LCD_B1_Pin LCD_B2_Pin LCD_B3_Pin LCD_G4_Pin
                           LCD_G1_Pin LCD_G3_Pin LCD_G0_Pin LCD_G2_Pin
                           LCD_R7_Pin LCD_R5_Pin LCD_R6_Pin LCD_R4_Pin
                           LCD_R3_Pin LCD_R1_Pin LCD_R2_Pin */
  GPIO_InitStruct.Pin = LCD_B1_Pin|LCD_B2_Pin|LCD_B3_Pin|LCD_G4_Pin
                          |LCD_G1_Pin|LCD_G3_Pin|LCD_G0_Pin|LCD_G2_Pin
                          |LCD_R7_Pin|LCD_R5_Pin|LCD_R6_Pin|LCD_R4_Pin
                          |LCD_R3_Pin|LCD_R1_Pin|LCD_R2_Pin;
  GPIO_InitStruct.Mode = GPIO_MODE_AF_PP;
  GPIO_InitStruct.Pull = GPIO_NOPULL;
  GPIO_InitStruct.Speed = GPIO_SPEED_FREQ_LOW;
  GPIO_InitStruct.Alternate = GPIO_AF14_LTDC;
  HAL_GPIO_Init(GPIOJ, &GPIO_InitStruct);

  /*Configure GPIO pin : OTG_FS_VBUS_Pin */
  GPIO_InitStruct.Pin = OTG_FS_VBUS_Pin;
  GPIO_InitStruct.Mode = GPIO_MODE_INPUT;
  GPIO_InitStruct.Pull = GPIO_NOPULL;
  HAL_GPIO_Init(OTG_FS_VBUS_GPIO_Port, &GPIO_InitStruct);

  /*Configure GPIO pin : Audio_INT_Pin */
  GPIO_InitStruct.Pin = Audio_INT_Pin;
  GPIO_InitStruct.Mode = GPIO_MODE_EVT_RISING;
  GPIO_InitStruct.Pull = GPIO_NOPULL;
  HAL_GPIO_Init(Audio_INT_GPIO_Port, &GPIO_InitStruct);

  /*Configure GPIO pins : FMC_D2_Pin FMC_D3_Pin FMC_D1_Pin FMC_D15_Pin
                           FMC_D0_Pin FMC_D14_Pin FMC_D13_Pin */
  GPIO_InitStruct.Pin = FMC_D2_Pin|FMC_D3_Pin|FMC_D1_Pin|FMC_D15_Pin
                          |FMC_D0_Pin|FMC_D14_Pin|FMC_D13_Pin;
  GPIO_InitStruct.Mode = GPIO_MODE_AF_PP;
  GPIO_InitStruct.Pull = GPIO_NOPULL;
  GPIO_InitStruct.Speed = GPIO_SPEED_FREQ_VERY_HIGH;
  GPIO_InitStruct.Alternate = GPIO_AF12_FMC;
  HAL_GPIO_Init(GPIOD, &GPIO_InitStruct);

  /*Configure GPIO pins : OTG_FS_P_Pin OTG_FS_N_Pin OTG_FS_ID_Pin */
  GPIO_InitStruct.Pin = OTG_FS_P_Pin|OTG_FS_N_Pin|OTG_FS_ID_Pin;
  GPIO_InitStruct.Mode = GPIO_MODE_AF_PP;
  GPIO_InitStruct.Pull = GPIO_NOPULL;
  GPIO_InitStruct.Speed = GPIO_SPEED_FREQ_VERY_HIGH;
  GPIO_InitStruct.Alternate = GPIO_AF10_OTG_FS;
  HAL_GPIO_Init(GPIOA, &GPIO_InitStruct);

  /*Configure GPIO pins : SAI2_MCLKA_Pin SAI2_SCKA_Pin SAI2_FSA_Pin SAI2_SDA_Pin */
  GPIO_InitStruct.Pin = SAI2_MCLKA_Pin|SAI2_SCKA_Pin|SAI2_FSA_Pin|SAI2_SDA_Pin;
  GPIO_InitStruct.Mode = GPIO_MODE_AF_PP;
  GPIO_InitStruct.Pull = GPIO_NOPULL;
  GPIO_InitStruct.Speed = GPIO_SPEED_FREQ_LOW;
  GPIO_InitStruct.Alternate = GPIO_AF10_SAI2;
  HAL_GPIO_Init(GPIOI, &GPIO_InitStruct);

  /*Configure GPIO pins : LCD_DE_Pin LCD_B7_Pin LCD_B6_Pin LCD_B5_Pin
                           LCD_G6_Pin LCD_G7_Pin LCD_G5_Pin */
  GPIO_InitStruct.Pin = LCD_DE_Pin|LCD_B7_Pin|LCD_B6_Pin|LCD_B5_Pin
                          |LCD_G6_Pin|LCD_G7_Pin|LCD_G5_Pin;
  GPIO_InitStruct.Mode = GPIO_MODE_AF_PP;
  GPIO_InitStruct.Pull = GPIO_NOPULL;
  GPIO_InitStruct.Speed = GPIO_SPEED_FREQ_LOW;
  GPIO_InitStruct.Alternate = GPIO_AF14_LTDC;
  HAL_GPIO_Init(GPIOK, &GPIO_InitStruct);

  /*Configure GPIO pin : LCD_B4_Pin */
  GPIO_InitStruct.Pin = LCD_B4_Pin;
  GPIO_InitStruct.Mode = GPIO_MODE_AF_PP;
  GPIO_InitStruct.Pull = GPIO_NOPULL;
  GPIO_InitStruct.Speed = GPIO_SPEED_FREQ_LOW;
  GPIO_InitStruct.Alternate = GPIO_AF9_LTDC;
  HAL_GPIO_Init(LCD_B4_GPIO_Port, &GPIO_InitStruct);

  /*Configure GPIO pin : SAI2_SDB_Pin */
  GPIO_InitStruct.Pin = SAI2_SDB_Pin;
  GPIO_InitStruct.Mode = GPIO_MODE_AF_PP;
  GPIO_InitStruct.Pull = GPIO_NOPULL;
  GPIO_InitStruct.Speed = GPIO_SPEED_FREQ_LOW;
  GPIO_InitStruct.Alternate = GPIO_AF10_SAI2;
  HAL_GPIO_Init(SAI2_SDB_GPIO_Port, &GPIO_InitStruct);

  /*Configure GPIO pin : OTG_FS_PowerSwitchOn_Pin */
  GPIO_InitStruct.Pin = OTG_FS_PowerSwitchOn_Pin;
  GPIO_InitStruct.Mode = GPIO_MODE_OUTPUT_PP;
  GPIO_InitStruct.Pull = GPIO_NOPULL;
  GPIO_InitStruct.Speed = GPIO_SPEED_FREQ_LOW;
  HAL_GPIO_Init(OTG_FS_PowerSwitchOn_GPIO_Port, &GPIO_InitStruct);

  /*Configure GPIO pin : DCMI_D5_Pin */
  GPIO_InitStruct.Pin = DCMI_D5_Pin;
  GPIO_InitStruct.Mode = GPIO_MODE_AF_PP;
  GPIO_InitStruct.Pull = GPIO_NOPULL;
  GPIO_InitStruct.Speed = GPIO_SPEED_FREQ_LOW;
  GPIO_InitStruct.Alternate = GPIO_AF13_DCMI;
  HAL_GPIO_Init(DCMI_D5_GPIO_Port, &GPIO_InitStruct);

  /*Configure GPIO pins : ARDUINO_D7_Pin ARDUINO_D8_Pin LCD_DISP_Pin */
  GPIO_InitStruct.Pin = ARDUINO_D7_Pin|ARDUINO_D8_Pin|LCD_DISP_Pin;
  GPIO_InitStruct.Mode = GPIO_MODE_OUTPUT_PP;
  GPIO_InitStruct.Pull = GPIO_NOPULL;
  GPIO_InitStruct.Speed = GPIO_SPEED_FREQ_LOW;
  HAL_GPIO_Init(GPIOI, &GPIO_InitStruct);

  /*Configure GPIO pin : uSD_Detect_Pin */
  GPIO_InitStruct.Pin = uSD_Detect_Pin;
  GPIO_InitStruct.Mode = GPIO_MODE_INPUT;
  GPIO_InitStruct.Pull = GPIO_NOPULL;
  HAL_GPIO_Init(uSD_Detect_GPIO_Port, &GPIO_InitStruct);

  /*Configure GPIO pins : FMC_A0_Pin FMC_A1_Pin FMC_A2_Pin FMC_A3_Pin
                           FMC_A4_Pin FMC_A5_Pin FMC_A6_Pin FMC_A9_Pin
                           FMC_A7_Pin FMC_A8_Pin FMC_SDNRAS_Pin */
  GPIO_InitStruct.Pin = FMC_A0_Pin|FMC_A1_Pin|FMC_A2_Pin|FMC_A3_Pin
                          |FMC_A4_Pin|FMC_A5_Pin|FMC_A6_Pin|FMC_A9_Pin
                          |FMC_A7_Pin|FMC_A8_Pin|FMC_SDNRAS_Pin;
  GPIO_InitStruct.Mode = GPIO_MODE_AF_PP;
  GPIO_InitStruct.Pull = GPIO_NOPULL;
  GPIO_InitStruct.Speed = GPIO_SPEED_FREQ_VERY_HIGH;
  GPIO_InitStruct.Alternate = GPIO_AF12_FMC;
  HAL_GPIO_Init(GPIOF, &GPIO_InitStruct);

  /*Configure GPIO pins : LCD_HSYNC_Pin LCD_VSYNC_Pin LCD_R0_Pin LCD_CLK_Pin */
  GPIO_InitStruct.Pin = LCD_HSYNC_Pin|LCD_VSYNC_Pin|LCD_R0_Pin|LCD_CLK_Pin;
  GPIO_InitStruct.Mode = GPIO_MODE_AF_PP;
  GPIO_InitStruct.Pull = GPIO_NOPULL;
  GPIO_InitStruct.Speed = GPIO_SPEED_FREQ_LOW;
  GPIO_InitStruct.Alternate = GPIO_AF14_LTDC;
  HAL_GPIO_Init(GPIOI, &GPIO_InitStruct);

  /*Configure GPIO pin : LCD_BL_CTRL_Pin */
  GPIO_InitStruct.Pin = LCD_BL_CTRL_Pin;
  GPIO_InitStruct.Mode = GPIO_MODE_OUTPUT_PP;
  GPIO_InitStruct.Pull = GPIO_NOPULL;
  GPIO_InitStruct.Speed = GPIO_SPEED_FREQ_LOW;
  HAL_GPIO_Init(LCD_BL_CTRL_GPIO_Port, &GPIO_InitStruct);

  /*Configure GPIO pin : DCMI_VSYNC_Pin */
  GPIO_InitStruct.Pin = DCMI_VSYNC_Pin;
  GPIO_InitStruct.Mode = GPIO_MODE_AF_PP;
  GPIO_InitStruct.Pull = GPIO_NOPULL;
  GPIO_InitStruct.Speed = GPIO_SPEED_FREQ_LOW;
  GPIO_InitStruct.Alternate = GPIO_AF13_DCMI;
  HAL_GPIO_Init(DCMI_VSYNC_GPIO_Port, &GPIO_InitStruct);

  /*Configure GPIO pin : OTG_FS_OverCurrent_Pin */
  GPIO_InitStruct.Pin = OTG_FS_OverCurrent_Pin;
  GPIO_InitStruct.Mode = GPIO_MODE_INPUT;
  GPIO_InitStruct.Pull = GPIO_NOPULL;
  HAL_GPIO_Init(OTG_FS_OverCurrent_GPIO_Port, &GPIO_InitStruct);

  /*Configure GPIO pin : SDMMC_D0_Pin */
  GPIO_InitStruct.Pin = SDMMC_D0_Pin;
  GPIO_InitStruct.Mode = GPIO_MODE_AF_PP;
  GPIO_InitStruct.Pull = GPIO_NOPULL;
  GPIO_InitStruct.Speed = GPIO_SPEED_FREQ_VERY_HIGH;
  GPIO_InitStruct.Alternate = GPIO_AF12_SDMMC1;
  HAL_GPIO_Init(SDMMC_D0_GPIO_Port, &GPIO_InitStruct);

  /*Configure GPIO pins : TP3_Pin NC2_Pin */
  GPIO_InitStruct.Pin = TP3_Pin|NC2_Pin;
  GPIO_InitStruct.Mode = GPIO_MODE_INPUT;
  GPIO_InitStruct.Pull = GPIO_NOPULL;
  HAL_GPIO_Init(GPIOH, &GPIO_InitStruct);

  /*Configure GPIO pin : ARDUINO_SCK_D13_Pin */
  GPIO_InitStruct.Pin = ARDUINO_SCK_D13_Pin;
  GPIO_InitStruct.Mode = GPIO_MODE_AF_PP;
  GPIO_InitStruct.Pull = GPIO_NOPULL;
  GPIO_InitStruct.Speed = GPIO_SPEED_FREQ_LOW;
  GPIO_InitStruct.Alternate = GPIO_AF5_SPI2;
  HAL_GPIO_Init(ARDUINO_SCK_D13_GPIO_Port, &GPIO_InitStruct);

  /*Configure GPIO pin : DCMI_PWR_EN_Pin */
  GPIO_InitStruct.Pin = DCMI_PWR_EN_Pin;
  GPIO_InitStruct.Mode = GPIO_MODE_OUTPUT_PP;
  GPIO_InitStruct.Pull = GPIO_NOPULL;
  GPIO_InitStruct.Speed = GPIO_SPEED_FREQ_LOW;
  HAL_GPIO_Init(DCMI_PWR_EN_GPIO_Port, &GPIO_InitStruct);

  /*Configure GPIO pins : DCMI_D4_Pin DCMI_D3_Pin DCMI_D0_Pin DCMI_D2_Pin
                           DCMI_D1_Pin */
  GPIO_InitStruct.Pin = DCMI_D4_Pin|DCMI_D3_Pin|DCMI_D0_Pin|DCMI_D2_Pin
                          |DCMI_D1_Pin;
  GPIO_InitStruct.Mode = GPIO_MODE_AF_PP;
  GPIO_InitStruct.Pull = GPIO_NOPULL;
  GPIO_InitStruct.Speed = GPIO_SPEED_FREQ_LOW;
  GPIO_InitStruct.Alternate = GPIO_AF13_DCMI;
  HAL_GPIO_Init(GPIOH, &GPIO_InitStruct);

  /*Configure GPIO pin : ARDUINO_PWM_CS_D5_Pin */
  GPIO_InitStruct.Pin = ARDUINO_PWM_CS_D5_Pin;
  GPIO_InitStruct.Mode = GPIO_MODE_AF_PP;
  GPIO_InitStruct.Pull = GPIO_NOPULL;
  GPIO_InitStruct.Speed = GPIO_SPEED_FREQ_LOW;
  GPIO_InitStruct.Alternate = GPIO_AF2_TIM5;
  HAL_GPIO_Init(ARDUINO_PWM_CS_D5_GPIO_Port, &GPIO_InitStruct);

  /*Configure GPIO pin : ARDUINO_PWM_D10_Pin */
  GPIO_InitStruct.Pin = ARDUINO_PWM_D10_Pin;
  GPIO_InitStruct.Mode = GPIO_MODE_AF_PP;
  GPIO_InitStruct.Pull = GPIO_NOPULL;
  GPIO_InitStruct.Speed = GPIO_SPEED_FREQ_LOW;
  GPIO_InitStruct.Alternate = GPIO_AF1_TIM1;
  HAL_GPIO_Init(ARDUINO_PWM_D10_GPIO_Port, &GPIO_InitStruct);

  /*Configure GPIO pin : LCD_INT_Pin */
  GPIO_InitStruct.Pin = LCD_INT_Pin;
  GPIO_InitStruct.Mode = GPIO_MODE_EVT_RISING;
  GPIO_InitStruct.Pull = GPIO_NOPULL;
  HAL_GPIO_Init(LCD_INT_GPIO_Port, &GPIO_InitStruct);

  /*Configure GPIO pins : ARDUINO_RX_D0_Pin ARDUINO_TX_D1_Pin */
  GPIO_InitStruct.Pin = ARDUINO_RX_D0_Pin|ARDUINO_TX_D1_Pin;
  GPIO_InitStruct.Mode = GPIO_MODE_AF_PP;
  GPIO_InitStruct.Pull = GPIO_NOPULL;
  GPIO_InitStruct.Speed = GPIO_SPEED_FREQ_VERY_HIGH;
  GPIO_InitStruct.Alternate = GPIO_AF8_USART6;
  HAL_GPIO_Init(GPIOC, &GPIO_InitStruct);

  /*Configure GPIO pin : ULPI_NXT_Pin */
  GPIO_InitStruct.Pin = ULPI_NXT_Pin;
  GPIO_InitStruct.Mode = GPIO_MODE_AF_PP;
  GPIO_InitStruct.Pull = GPIO_NOPULL;
  GPIO_InitStruct.Speed = GPIO_SPEED_FREQ_VERY_HIGH;
  GPIO_InitStruct.Alternate = GPIO_AF10_OTG_HS;
  HAL_GPIO_Init(ULPI_NXT_GPIO_Port, &GPIO_InitStruct);

  /*Configure GPIO pins : FMC_SDNME_Pin FMC_SDNE0_Pin */
  GPIO_InitStruct.Pin = FMC_SDNME_Pin|FMC_SDNE0_Pin;
  GPIO_InitStruct.Mode = GPIO_MODE_AF_PP;
  GPIO_InitStruct.Pull = GPIO_NOPULL;
  GPIO_InitStruct.Speed = GPIO_SPEED_FREQ_VERY_HIGH;
  GPIO_InitStruct.Alternate = GPIO_AF12_FMC;
  HAL_GPIO_Init(GPIOH, &GPIO_InitStruct);

  /*Configure GPIO pins : ARDUINO_D4_Pin ARDUINO_D2_Pin EXT_RST_Pin */
  GPIO_InitStruct.Pin = ARDUINO_D4_Pin|ARDUINO_D2_Pin|EXT_RST_Pin;
  GPIO_InitStruct.Mode = GPIO_MODE_OUTPUT_PP;
  GPIO_InitStruct.Pull = GPIO_NOPULL;
  GPIO_InitStruct.Speed = GPIO_SPEED_FREQ_LOW;
  HAL_GPIO_Init(GPIOG, &GPIO_InitStruct);

  /*Configure GPIO pins : ARDUINO_A4_Pin ARDUINO_A5_Pin ARDUINO_A1_Pin ARDUINO_A2_Pin
                           ARDUINO_A3_Pin */
  GPIO_InitStruct.Pin = ARDUINO_A4_Pin|ARDUINO_A5_Pin|ARDUINO_A1_Pin|ARDUINO_A2_Pin
                          |ARDUINO_A3_Pin;
  GPIO_InitStruct.Mode = GPIO_MODE_ANALOG;
  GPIO_InitStruct.Pull = GPIO_NOPULL;
  HAL_GPIO_Init(GPIOF, &GPIO_InitStruct);

  /*Configure GPIO pin : FMC_SDCKE0_Pin */
  GPIO_InitStruct.Pin = FMC_SDCKE0_Pin;
  GPIO_InitStruct.Mode = GPIO_MODE_AF_PP;
  GPIO_InitStruct.Pull = GPIO_NOPULL;
  GPIO_InitStruct.Speed = GPIO_SPEED_FREQ_VERY_HIGH;
  GPIO_InitStruct.Alternate = GPIO_AF12_FMC;
  HAL_GPIO_Init(FMC_SDCKE0_GPIO_Port, &GPIO_InitStruct);

  /*Configure GPIO pins : ULPI_STP_Pin ULPI_DIR_Pin */
  GPIO_InitStruct.Pin = ULPI_STP_Pin|ULPI_DIR_Pin;
  GPIO_InitStruct.Mode = GPIO_MODE_AF_PP;
  GPIO_InitStruct.Pull = GPIO_NOPULL;
  GPIO_InitStruct.Speed = GPIO_SPEED_FREQ_VERY_HIGH;
  GPIO_InitStruct.Alternate = GPIO_AF10_OTG_HS;
  HAL_GPIO_Init(GPIOC, &GPIO_InitStruct);

  /*Configure GPIO pins : RMII_MDC_Pin RMII_RXD0_Pin RMII_RXD1_Pin */
  GPIO_InitStruct.Pin = RMII_MDC_Pin|RMII_RXD0_Pin|RMII_RXD1_Pin;
  GPIO_InitStruct.Mode = GPIO_MODE_AF_PP;
  GPIO_InitStruct.Pull = GPIO_NOPULL;
  GPIO_InitStruct.Speed = GPIO_SPEED_FREQ_VERY_HIGH;
  GPIO_InitStruct.Alternate = GPIO_AF11_ETH;
  HAL_GPIO_Init(GPIOC, &GPIO_InitStruct);

  /*Configure GPIO pin : PB2 */
  GPIO_InitStruct.Pin = GPIO_PIN_2;
  GPIO_InitStruct.Mode = GPIO_MODE_AF_PP;
  GPIO_InitStruct.Pull = GPIO_NOPULL;
  GPIO_InitStruct.Speed = GPIO_SPEED_FREQ_VERY_HIGH;
  GPIO_InitStruct.Alternate = GPIO_AF9_QUADSPI;
  HAL_GPIO_Init(GPIOB, &GPIO_InitStruct);

  /*Configure GPIO pins : QSPI_D1_Pin QSPI_D3_Pin QSPI_D0_Pin */
  GPIO_InitStruct.Pin = QSPI_D1_Pin|QSPI_D3_Pin|QSPI_D0_Pin;
  GPIO_InitStruct.Mode = GPIO_MODE_AF_PP;
  GPIO_InitStruct.Pull = GPIO_NOPULL;
  GPIO_InitStruct.Speed = GPIO_SPEED_FREQ_VERY_HIGH;
  GPIO_InitStruct.Alternate = GPIO_AF9_QUADSPI;
  HAL_GPIO_Init(GPIOD, &GPIO_InitStruct);

  /*Configure GPIO pin : RMII_RXER_Pin */
  GPIO_InitStruct.Pin = RMII_RXER_Pin;
  GPIO_InitStruct.Mode = GPIO_MODE_INPUT;
  GPIO_InitStruct.Pull = GPIO_NOPULL;
  HAL_GPIO_Init(RMII_RXER_GPIO_Port, &GPIO_InitStruct);

  /*Configure GPIO pins : RMII_REF_CLK_Pin RMII_MDIO_Pin RMII_CRS_DV_Pin */
  GPIO_InitStruct.Pin = RMII_REF_CLK_Pin|RMII_MDIO_Pin|RMII_CRS_DV_Pin;
  GPIO_InitStruct.Mode = GPIO_MODE_AF_PP;
  GPIO_InitStruct.Pull = GPIO_NOPULL;
  GPIO_InitStruct.Speed = GPIO_SPEED_FREQ_VERY_HIGH;
  GPIO_InitStruct.Alternate = GPIO_AF11_ETH;
  HAL_GPIO_Init(GPIOA, &GPIO_InitStruct);

  /*Configure GPIO pin : ARDUINO_A0_Pin */
  GPIO_InitStruct.Pin = ARDUINO_A0_Pin;
  GPIO_InitStruct.Mode = GPIO_MODE_ANALOG;
  GPIO_InitStruct.Pull = GPIO_NOPULL;
  HAL_GPIO_Init(ARDUINO_A0_GPIO_Port, &GPIO_InitStruct);

  /*Configure GPIO pins : DCMI_HSYNC_Pin PA6 */
  GPIO_InitStruct.Pin = DCMI_HSYNC_Pin|GPIO_PIN_6;
  GPIO_InitStruct.Mode = GPIO_MODE_AF_PP;
  GPIO_InitStruct.Pull = GPIO_NOPULL;
  GPIO_InitStruct.Speed = GPIO_SPEED_FREQ_LOW;
  GPIO_InitStruct.Alternate = GPIO_AF13_DCMI;
  HAL_GPIO_Init(GPIOA, &GPIO_InitStruct);

  /*Configure GPIO pins : LCD_SCL_Pin LCD_SDA_Pin */
  GPIO_InitStruct.Pin = LCD_SCL_Pin|LCD_SDA_Pin;
  GPIO_InitStruct.Mode = GPIO_MODE_AF_OD;
  GPIO_InitStruct.Pull = GPIO_NOPULL;
  GPIO_InitStruct.Speed = GPIO_SPEED_FREQ_VERY_HIGH;
  GPIO_InitStruct.Alternate = GPIO_AF4_I2C3;
  HAL_GPIO_Init(GPIOH, &GPIO_InitStruct);

  /*Configure GPIO pins : ULPI_CLK_Pin ULPI_D0_Pin */
  GPIO_InitStruct.Pin = ULPI_CLK_Pin|ULPI_D0_Pin;
  GPIO_InitStruct.Mode = GPIO_MODE_AF_PP;
  GPIO_InitStruct.Pull = GPIO_NOPULL;
  GPIO_InitStruct.Speed = GPIO_SPEED_FREQ_VERY_HIGH;
  GPIO_InitStruct.Alternate = GPIO_AF10_OTG_HS;
  HAL_GPIO_Init(GPIOA, &GPIO_InitStruct);

  /*Configure GPIO pin : ARDUINO_PWM_D6_Pin */
  GPIO_InitStruct.Pin = ARDUINO_PWM_D6_Pin;
  GPIO_InitStruct.Mode = GPIO_MODE_AF_PP;
  GPIO_InitStruct.Pull = GPIO_NOPULL;
  GPIO_InitStruct.Speed = GPIO_SPEED_FREQ_LOW;
  GPIO_InitStruct.Alternate = GPIO_AF9_TIM12;
  HAL_GPIO_Init(ARDUINO_PWM_D6_GPIO_Port, &GPIO_InitStruct);

  /*Configure GPIO pins : ARDUINO_MISO_D12_Pin ARDUINO_MOSI_PWM_D11_Pin */
  GPIO_InitStruct.Pin = ARDUINO_MISO_D12_Pin|ARDUINO_MOSI_PWM_D11_Pin;
  GPIO_InitStruct.Mode = GPIO_MODE_AF_PP;
  GPIO_InitStruct.Pull = GPIO_NOPULL;
  GPIO_InitStruct.Speed = GPIO_SPEED_FREQ_LOW;
  GPIO_InitStruct.Alternate = GPIO_AF5_SPI2;
  HAL_GPIO_Init(GPIOB, &GPIO_InitStruct);

}

/* USER CODE BEGIN 4 */
void UART_LOG(char * msg)
{
	HAL_UART_Transmit(&huart1, (uint8_t*)msg, strlen((char*)msg), HAL_MAX_DELAY);
}

static void vManagerTask(void *pvParameters)
{
	uint32_t xWorkTicketId;
	BaseType_t status;

	xSemaphoreGive(xWork);

	while(1)
	{
		xWorkTicketId = ( rand() & 0x1FF );
		status = xQueueSend(xWorkQueue,&xWorkTicketId, portMAX_DELAY );

		if(status != pdPASS )
		{
			sprintf(usr_msg,"Could not send to the queue.\r\n");
			UART_LOG(usr_msg);
		}else
		{
			xSemaphoreGive(xWork);
			taskYIELD();
		}

	}
}

static void vEmployeeTask(void *pvParameters)
{
	uint32_t xWorkTicketId;
	BaseType_t status;

	while(1)
	{
		xSemaphoreTake(xWork,0);
		status = xQueueReceive(xWorkQueue, &xWorkTicketId, 0);

		if(status == pdPASS)
		{
			EmployeeDoWork(xWorkTicketId);
		}else
		{
			sprintf(usr_msg,"Employee task : Queue is empty , nothing to do.\r\n");
			UART_LOG(usr_msg);
		}
	}
}

void EmployeeDoWork(uint32_t TicketId){

	/* implement the work according to TickedID */
	sprintf(usr_msg,"Employee task : Working on Ticked id : %d\r\n",TicketId);
	UART_LOG(usr_msg);
	vTaskDelay(TicketId);
}

/* USER CODE END 4 */

void HAL_TIM_PeriodElapsedCallback(TIM_HandleTypeDef *htim)
{
  if (htim->Instance == TIM6) {
    HAL_IncTick();
  }
}

void Error_Handler(void)
{
  __disable_irq();
  while (1)
  {
  }
}
